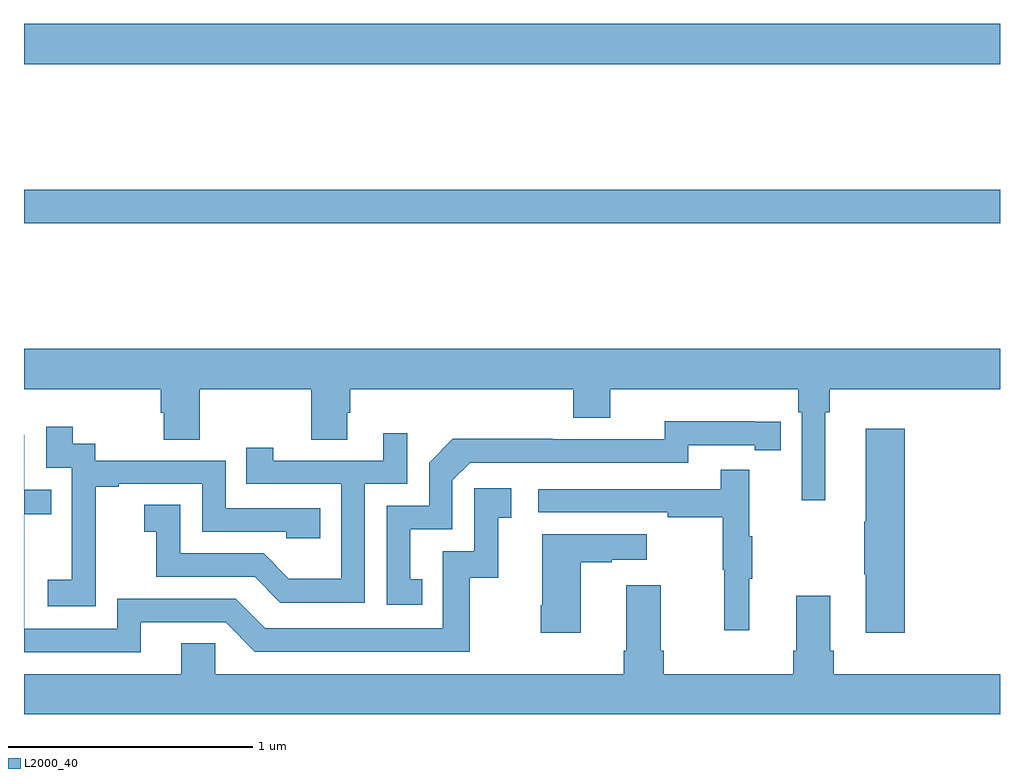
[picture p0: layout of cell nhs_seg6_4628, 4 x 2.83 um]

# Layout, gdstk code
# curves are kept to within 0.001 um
import gdstk
lib = gdstk.Library(unit=1e-6, precision=1e-09)
def R(c, l, rs):  # rectangles x0, y0, x1, y1
    for r in rs: c.add(gdstk.rectangle(r[:2], r[2:], *l))
def P(c, l, *ps):  # polygons
    for p in ps: c.add(gdstk.Polygon(p, *l))
L2000_40 = (2000, 40)

nhs_seg6_4628 = lib.new_cell('nhs_seg6_4628')
R(nhs_seg6_4628, L2000_40, [(383,983.98,387,984.116), (383,984.632,387,984.796)])
P(nhs_seg6_4628, L2000_40, [(386.284,983.204),(386.303,983.204),(386.303,983.3),(387,983.3),(387,983.464),(383,983.464),(383,983.3),(383.561,983.3),(383.561,983.202),(383.573,983.202),(383.573,983.092),(383.721,983.092),(383.721,983.3),(384.178,983.3),(384.178,983.092),(384.325,983.092),(384.325,983.202),(384.338,983.202),(384.338,983.3),(385.25,983.3),(385.25,983.183),(385.402,983.183),(385.402,983.3),(386.174,983.3),(386.174,983.204),(386.187,983.204),(386.187,982.845),(386.284,982.845)],
  [(384.632,982.521),(384.583,982.521),(384.583,982.725),(384.756,982.725),(384.756,982.926),(384.828,982.998),(385.722,982.998),(385.722,983.07),(385.994,983.07),(385.994,983.05),(386.102,983.05),(386.102,983.166),(385.626,983.167),(385.626,983.094),(385.166,983.094),(385.166,983.096),(384.758,983.096),(384.66,982.998),(384.66,982.821),(384.486,982.821),(384.486,982.416),(384.632,982.416)],
  [(383.295,982.615),(383.294,982.615),(383.294,982.899),(383.389,982.899),(383.389,982.911),(383.73,982.911),(383.73,982.716),(384.075,982.716),(384.075,982.689),(384.215,982.689),(384.215,982.812),(383.826,982.812),(383.826,983.007),(383.292,983.007),(383.292,983.076),(383.2,983.076),(383.2,983.146),(383.091,983.146),(383.091,982.977),(383.196,982.977),(383.196,982.748),(383.195,982.748),(383.195,982.519),(383.097,982.519),(383.097,982.409),(383.295,982.409)],
  [(386.609,983.137),(386.45,983.137),(386.45,982.757),(386.443,982.757),(386.443,982.54),(386.45,982.54),(386.45,982.302),(386.609,982.302)],
  [(384.396,982.911),(384.57,982.911),(384.57,983.119),(384.473,983.119),(384.473,983.007),(384.022,983.007),(384.022,983.059),(383.911,983.059),(383.911,982.911),(384.3,982.911),(384.3,982.522),(384.086,982.522),(383.982,982.626),(383.64,982.626),(383.64,982.825),(383.493,982.825),(383.493,982.715),(383.542,982.715),(383.542,982.53),(383.945,982.53),(384.05,982.425),(384.396,982.425)],
  [(383.479,982.344),(383.826,982.344),(383.946,982.224),(384.826,982.224),(384.826,982.527),(384.944,982.527),(384.944,982.773),(384.997,982.773),(384.997,982.894),(384.846,982.894),(384.846,982.635),(384.717,982.635),(384.717,982.32),(383.988,982.32),(383.868,982.44),(383.382,982.44),(383.382,982.317),(383.001,982.317),(383.001,982.786),(383.111,982.786),(383.111,982.887),(383.001,982.887),(383,983.112),(383,982.221),(383.479,982.221)],
  [(385.973,982.523),(385.984,982.523),(385.984,982.697),(385.973,982.697),(385.973,982.969),(385.855,982.969),(385.855,982.89),(385.107,982.89),(385.107,982.794),(385.639,982.794),(385.639,982.774),(385.863,982.774),(385.863,982.56),(385.87,982.56),(385.87,982.311),(385.973,982.311)],
  [(385.282,982.591),(385.409,982.591),(385.409,982.601),(385.552,982.601),(385.552,982.705),(385.124,982.705),(385.124,982.414),(385.117,982.414),(385.117,982.302),(385.282,982.302)],
  [(387,982.132),(386.318,982.132),(386.318,982.228),(386.305,982.228),(386.305,982.453),(386.165,982.453),(386.165,982.228),(386.153,982.228),(386.153,982.132),(385.622,982.132),(385.622,982.228),(385.609,982.228),(385.609,982.495),(385.469,982.495),(385.469,982.228),(385.457,982.228),(385.457,982.132),(383.784,982.132),(383.784,982.259),(383.645,982.259),(383.645,982.132),(383,982.132),(383,981.968),(387,981.968)])

lib.write_gds('nhs_seg6_4628.gds')
